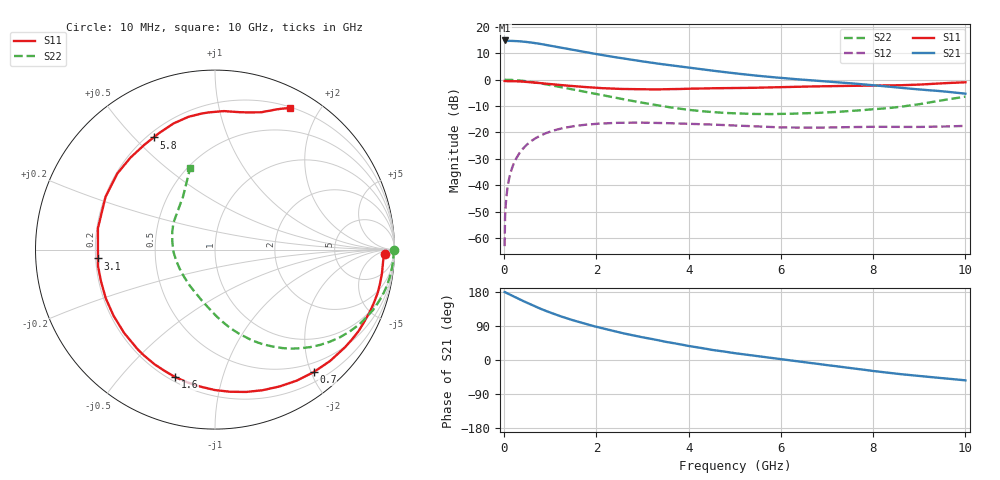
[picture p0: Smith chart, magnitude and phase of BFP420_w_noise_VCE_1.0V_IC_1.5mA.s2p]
! Infineon Technologies  Discrete & RF Semiconductors
! BFP420
! VCE =  1.0 V,  IC =  1.5 mA
! Common Emitter S-Parameters:  Jan 2016
# GHz  S  MA  R  50
!  f  S11  S21  S12  S22
! GHz  MAG  ANG  MAG  ANG  MAG  ANG  MAG  ANG
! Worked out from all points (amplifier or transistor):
!   233 points, 10 MHz to 10 GHz, reference 50 ohm
!   highest |S21| = 14.9 dB at 10 MHz (marker M1)
!   |S21| within 3 dB of that: start of sweep to 1.323 GHz
!   unconditionally stable (mu >= 1): 4.104 GHz to end of sweep
!   at 200 MHz: K = 0.02, MSG = 23.4 dB, |S12| = -32.1 dB
!   at 1.74 GHz: K = 0.35, MSG = 13.8 dB, |S12| = -17.1 dB
!   at 10 GHz: K = 1.25, MAG = 3.1 dB, |S12| = -17.5 dB
!   lowest NFmin = 0.52 dB at 900 MHz
!   S11 on the Smith chart (normalised r, x): 10 MHz: 29, -14; 700 MHz: 0.35, -2.04; 1.6 GHz: 0.22, -0.71; 3.1 GHz: 0.21, -0.04; 5.8 GHz: 0.22, +0.57; 10 GHz: 0.21, +1.64
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0.01  0.9451 -1.5  5.537 179.4  0.0007 82.0  0.9946 -0.1
0.02  0.9427 -1.6  5.374 179.2  0.0025 89.7  0.9947 -0.9
0.04  0.9401 -3.0  5.397 177.8  0.0049 88.4  0.9946 -1.8
0.08  0.9389 -6.0  5.429 175.4  0.0099 86.3  0.9933 -3.7
0.14  0.9388 -10.4  5.441 171.7  0.0174 83.9  0.99 -6.6
0.3  0.9292 -22.3  5.365 162.2  0.0367 76.6  0.9713 -14.1
0.46  0.911 -34.0  5.214 152.9  0.0551 69.4  0.9402 -21.3
0.7  0.8762 -51.2  4.901 139.7  0.0796 59.2  0.8783 -31.3
0.9  0.8432 -64.7  4.581 129.8  0.0965 51.5  0.8195 -38.8
1.1  0.8117 -77.7  4.262 120.7  0.1106 44.5  0.7601 -45.6
1.6  0.7441 -107.3  3.538 100.8  0.1346 29.6  0.623 -59.8
1.68  0.7336 -111.6  3.439 98.0  0.1375 27.5  0.6038 -61.8
1.98  0.7045 -126.9  3.083 88.2  0.1453 20.3  0.5375 -68.6
2.4  0.6747 -146.9  2.675 75.6  0.1518 11.5  0.4567 -77.6
3.1  0.6539 -175.7  2.156 57.8  0.1525 -0.2  0.3534 -91.5
3.4  0.6568 173.3  1.98 50.7  0.1509 -4.4  0.319 -98.1
4.5  0.6898 142.1  1.49 26.8  0.1412 -15.8  0.244 -125.9
5.1  0.6965 130.7  1.291 16.5  0.134 -19.3  0.2283 -140.6
5.8  0.7123 118.7  1.12 5.4  0.1265 -21.5  0.223 -158.6
6.8  0.7474 104.0  0.951 -10.2  0.1236 -22.5  0.235 176.5
8.4  0.7777 79.9  0.728 -34.6  0.1275 -27.0  0.2936 136.3
10  0.8926 62.2  0.543 -53.7  0.1332 -29.2  0.4767 106.9
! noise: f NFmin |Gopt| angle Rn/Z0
0.9  0.52  0.55  33  0.27
1.8  1.07  0.35  77  0.21
2.4  1.18  0.36  101  0.18
3  1.41  0.36  134  0.13
4  1.68  0.4  -172  0.1
5  2.08  0.44  -130  0.32
6  2.89  0.57  -114  0.39
